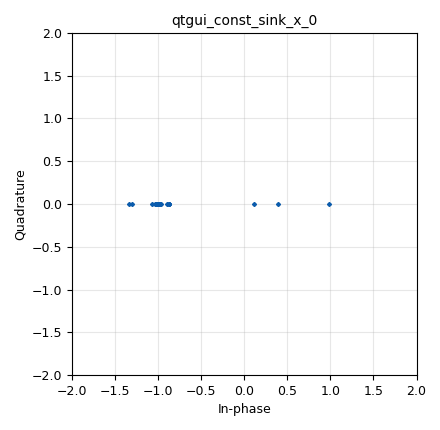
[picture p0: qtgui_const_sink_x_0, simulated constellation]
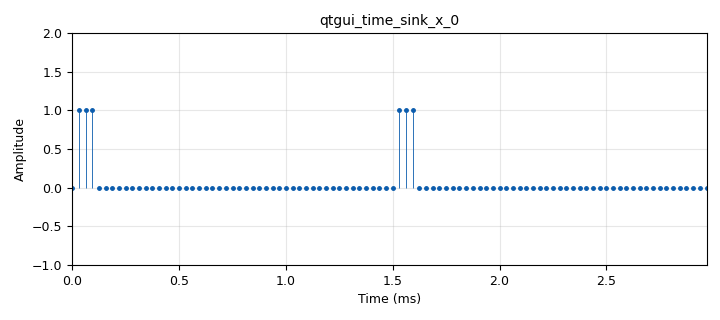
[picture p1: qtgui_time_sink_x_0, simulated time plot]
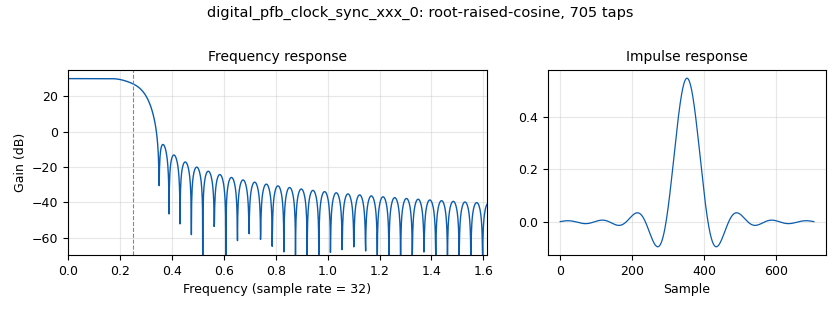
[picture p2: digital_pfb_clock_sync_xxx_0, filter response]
<?xml version='1.0' encoding='utf-8'?>
<?grc format='1' created='3.7.11'?>
<flow_graph>
<block>
<key>options</key>
<param><key>id</key><value>top_block</value></param>
<param><key>generate_options</key><value>qt_gui</value></param>
</block>
<block>
<key>variable_constellation</key>
<param><key>id</key><value>bpsk</value></param>
<param><key>type</key><value>bpsk</value></param>
<param><key>precision</key><value>8</value></param>
</block>
<block>
<key>variable_qtgui_range</key>
<param><key>id</key><value>delay</value></param>
<param><key>value</key><value>1</value></param>
<param><key>orient</key><value>Qt.Horizontal</value></param>
<param><key>start</key><value>0</value></param>
<param><key>step</key><value>1</value></param>
<param><key>stop</key><value>100</value></param>
</block>
<block>
<key>variable</key>
<param><key>id</key><value>rrc_taps</value></param>
<param><key>value</key><value>firdes.root_raised_cosine(32, 32, 1.0/float(2), 0.35, 11*2*32)</value></param>
</block>
<block>
<key>variable</key>
<param><key>id</key><value>samp_rate</value></param>
<param><key>value</key><value>32000</value></param>
</block>
<block>
<key>analog_random_source_x</key>
<param><key>id</key><value>analog_random_source_x_0</value></param>
<param><key>_enabled</key><value>0</value></param>
<param><key>max</key><value>256</value></param>
<param><key>min</key><value>0</value></param>
<param><key>num_samps</key><value>10</value></param>
<param><key>type</key><value>byte</value></param>
<param><key>repeat</key><value>True</value></param>
</block>
<block>
<key>blocks_delay</key>
<param><key>id</key><value>blocks_delay_0</value></param>
<param><key>delay</key><value>int(delay)</value></param>
<param><key>_enabled</key><value>0</value></param>
<param><key>type</key><value>float</value></param>
</block>
<block>
<key>blocks_throttle</key>
<param><key>id</key><value>blocks_throttle_0</value></param>
<param><key>samples_per_second</key><value>samp_rate*10</value></param>
<param><key>type</key><value>byte</value></param>
</block>
<block>
<key>blocks_uchar_to_float</key>
<param><key>id</key><value>blocks_uchar_to_float_0</value></param>
</block>
<block>
<key>blocks_uchar_to_float</key>
<param><key>id</key><value>blocks_uchar_to_float_1</value></param>
<param><key>_enabled</key><value>0</value></param>
</block>
<block>
<key>blocks_unpack_k_bits_bb</key>
<param><key>id</key><value>blocks_unpack_k_bits_bb_0</value></param>
<param><key>_enabled</key><value>0</value></param>
<param><key>k</key><value>8</value></param>
</block>
<block>
<key>blocks_vector_source_x</key>
<param><key>id</key><value>blocks_vector_source_x_0</value></param>
<param><key>type</key><value>byte</value></param>
<param><key>repeat</key><value>True</value></param>
<param><key>vector</key><value>(0, 0, 1)</value></param>
</block>
<block>
<key>digital_constellation_decoder_cb</key>
<param><key>id</key><value>digital_constellation_decoder_cb_0</value></param>
<param><key>constellation</key><value>bpsk</value></param>
</block>
<block>
<key>digital_constellation_modulator</key>
<param><key>id</key><value>digital_constellation_modulator_0</value></param>
<param><key>constellation</key><value>bpsk</value></param>
<param><key>differential</key><value>False</value></param>
<param><key>excess_bw</key><value>0.35</value></param>
<param><key>samples_per_symbol</key><value>2</value></param>
</block>
<block>
<key>digital_costas_loop_cc</key>
<param><key>id</key><value>digital_costas_loop_cc_0</value></param>
<param><key>w</key><value>62.8e-3</value></param>
<param><key>order</key><value>2</value></param>
</block>
<block>
<key>digital_pfb_clock_sync_xxx</key>
<param><key>id</key><value>digital_pfb_clock_sync_xxx_0</value></param>
<param><key>filter_size</key><value>32</value></param>
<param><key>init_phase</key><value>16</value></param>
<param><key>loop_bw</key><value>62.8e-3</value></param>
<param><key>max_dev</key><value>1.5</value></param>
<param><key>osps</key><value>2</value></param>
<param><key>sps</key><value>2</value></param>
<param><key>taps</key><value>rrc_taps</value></param>
<param><key>type</key><value>ccf</value></param>
</block>
<block>
<key>qtgui_const_sink_x</key>
<param><key>id</key><value>qtgui_const_sink_x_0</value></param>
<param><key>size</key><value>1024</value></param>
<param><key>type</key><value>complex</value></param>
</block>
<block>
<key>qtgui_time_sink_x</key>
<param><key>id</key><value>qtgui_time_sink_x_0</value></param>
<param><key>color1</key><value>"blue"</value></param>
<param><key>label1</key><value></value></param>
<param><key>marker1</key><value>0</value></param>
<param><key>style1</key><value>2</value></param>
<param><key>size</key><value>2*6*8</value></param>
<param><key>srate</key><value>samp_rate</value></param>
<param><key>stemplot</key><value>True</value></param>
<param><key>type</key><value>float</value></param>
<param><key>ymax</key><value>2</value></param>
</block>
<connection><source_block_id>analog_random_source_x_0</source_block_id><sink_block_id>blocks_throttle_0</sink_block_id><source_key>0</source_key><sink_key>0</sink_key></connection>
<connection><source_block_id>analog_random_source_x_0</source_block_id><sink_block_id>blocks_unpack_k_bits_bb_0</sink_block_id><source_key>0</source_key><sink_key>0</sink_key></connection>
<connection><source_block_id>blocks_delay_0</source_block_id><sink_block_id>qtgui_time_sink_x_0</sink_block_id><source_key>0</source_key><sink_key>0</sink_key></connection>
<connection><source_block_id>blocks_throttle_0</source_block_id><sink_block_id>digital_constellation_modulator_0</sink_block_id><source_key>0</source_key><sink_key>0</sink_key></connection>
<connection><source_block_id>blocks_uchar_to_float_0</source_block_id><sink_block_id>qtgui_time_sink_x_0</sink_block_id><source_key>0</source_key><sink_key>0</sink_key></connection>
<connection><source_block_id>blocks_uchar_to_float_1</source_block_id><sink_block_id>blocks_delay_0</sink_block_id><source_key>0</source_key><sink_key>0</sink_key></connection>
<connection><source_block_id>blocks_unpack_k_bits_bb_0</source_block_id><sink_block_id>blocks_uchar_to_float_1</sink_block_id><source_key>0</source_key><sink_key>0</sink_key></connection>
<connection><source_block_id>blocks_vector_source_x_0</source_block_id><sink_block_id>blocks_throttle_0</sink_block_id><source_key>0</source_key><sink_key>0</sink_key></connection>
<connection><source_block_id>digital_constellation_decoder_cb_0</source_block_id><sink_block_id>blocks_uchar_to_float_0</sink_block_id><source_key>0</source_key><sink_key>0</sink_key></connection>
<connection><source_block_id>digital_constellation_modulator_0</source_block_id><sink_block_id>digital_pfb_clock_sync_xxx_0</sink_block_id><source_key>0</source_key><sink_key>0</sink_key></connection>
<connection><source_block_id>digital_costas_loop_cc_0</source_block_id><sink_block_id>digital_constellation_decoder_cb_0</sink_block_id><source_key>0</source_key><sink_key>0</sink_key></connection>
<connection><source_block_id>digital_costas_loop_cc_0</source_block_id><sink_block_id>qtgui_const_sink_x_0</sink_block_id><source_key>0</source_key><sink_key>0</sink_key></connection>
<connection><source_block_id>digital_pfb_clock_sync_xxx_0</source_block_id><sink_block_id>digital_costas_loop_cc_0</sink_block_id><source_key>0</source_key><sink_key>0</sink_key></connection>
</flow_graph>
